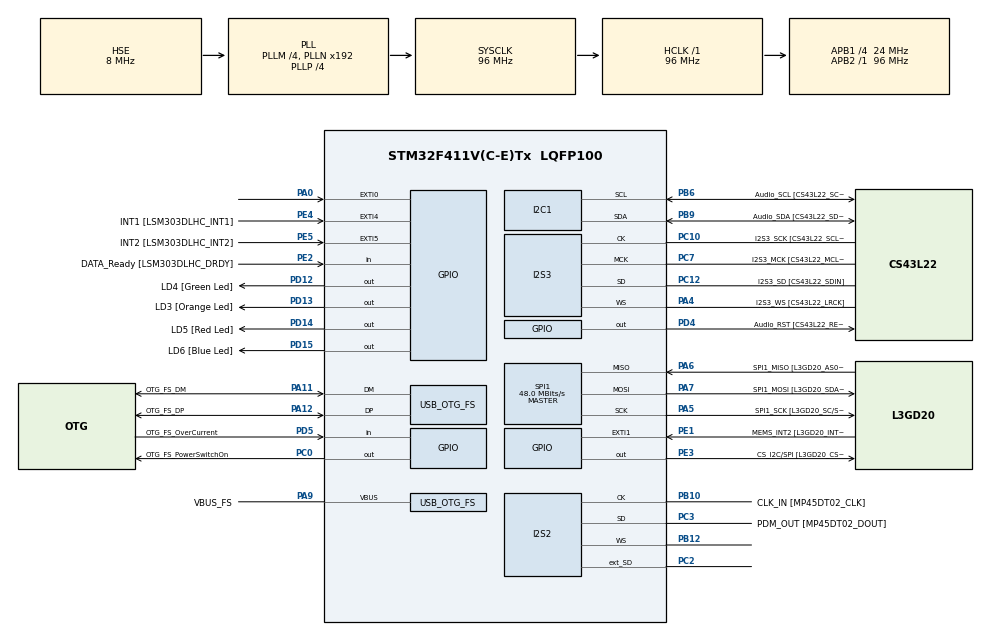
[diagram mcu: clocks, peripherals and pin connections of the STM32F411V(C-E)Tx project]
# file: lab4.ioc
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FREERTOS.BinarySemaphores01=CriticalSemaphore,Dynamic,NULL
FREERTOS.Mutexes01=CriticalResourceMutex,Dynamic,NULL
FREERTOS.Tasks01=GreenTask,0,128,StartGreenTask,Default,NULL,Dynamic,NULL,NULL;RedTask,0,128,StartRedTask,Default,NULL,Dynamic,NULL,NULL;OrangeTask,1,128,StartOrangeTask,Default,NULL,Dynamic,NULL,NULL
I2S2.AudioFreq=I2S_AUDIOFREQ_96K
I2S2.ErrorAudioFreq=0.15 %
I2S2.FullDuplexMode=I2S_FULLDUPLEXMODE_ENABLE
I2S2.Instance=SPI$Index
I2S2.RealAudioFreq=96.153 KHz
I2S2.VirtualMode=I2S_MODE_MASTER
I2S3.AudioFreq=I2S_AUDIOFREQ_96K
I2S3.ErrorAudioFreq=-6.99 %
I2S3.FullDuplexMode=I2S_FULLDUPLEXMODE_DISABLE
I2S3.Instance=SPI$Index
I2S3.RealAudioFreq=89.285 KHz
I2S3.VirtualMode=I2S_MODE_MASTER
Mcu.Family=STM32F4
Mcu.Name=STM32F411V(C-E)Tx
Mcu.Package=LQFP100
NVIC.OTG_FS_IRQn=true\:5\:0\:false\:false\:true\:true\:true\:true
NVIC.PriorityGroup=NVIC_PRIORITYGROUP_4
NVIC.TIM1_UP_TIM10_IRQn=true\:0\:0\:false\:false\:true\:false\:false\:true
NVIC.TimeBase=TIM1_UP_TIM10_IRQn
NVIC.TimeBaseIP=TIM1
PA0-WKUP.GPIO_ModeDefaultEXTI=GPIO_MODE_EVT_RISING
PA0-WKUP.Signal=GPXTI0
PA10.GPIO_Label=OTG_FS_ID
PA10.Signal=USB_OTG_FS_ID
PA11.GPIO_Label=OTG_FS_DM
PA11.Mode=Host_Only
PA11.Signal=USB_OTG_FS_DM
PA12.GPIO_Label=OTG_FS_DP
PA12.Mode=Host_Only
PA12.Signal=USB_OTG_FS_DP
PA13.GPIO_Label=SWDIO
PA13.Mode=Serial_Wire
PA13.Signal=SYS_JTMS-SWDIO
PA14.GPIO_Label=SWCLK
PA14.Mode=Serial_Wire
PA14.Signal=SYS_JTCK-SWCLK
PA4.GPIO_Label=I2S3_WS [CS43L22_LRCK]
PA4.GPIO_Mode=GPIO_MODE_AF_PP
PA4.GPIO_PuPd=GPIO_NOPULL
PA4.GPIO_Speed=GPIO_SPEED_FREQ_LOW
PA4.Mode=Half_Duplex_Master
PA4.Signal=I2S3_WS
PA5.GPIO_Label=SPI1_SCK [L3GD20_SC/SPC]
PA5.Mode=Full_Duplex_Master
PA5.Signal=SPI1_SCK
PA6.GPIO_Label=SPI1_MISO [L3GD20_AS0/SDO]
PA6.Mode=Full_Duplex_Master
PA6.Signal=SPI1_MISO
PA7.GPIO_Label=SPI1_MOSI [L3GD20_SDA/SDI/SDO]
PA7.Mode=Full_Duplex_Master
PA7.Signal=SPI1_MOSI
PA9.GPIO_Label=VBUS_FS
PA9.Mode=Activate_VBUS
PA9.Signal=USB_OTG_FS_VBUS
PB10.GPIO_Label=CLK_IN [MP45DT02_CLK]
PB10.Mode=Full_Duplex_Master
PB10.Signal=I2S2_CK
PB12.Mode=Full_Duplex_Master
PB12.Signal=I2S2_WS
PB3.GPIO_Label=SWO
PB3.Signal=SYS_JTDO-SWO
PB6.GPIO_Label=Audio_SCL [CS43L22_SCL]
PB6.GPIO_Mode=GPIO_MODE_AF_OD
PB6.GPIO_PuPd=GPIO_NOPULL
PB6.GPIO_Speed=GPIO_SPEED_FREQ_LOW
PB6.Mode=I2C
PB6.Signal=I2C1_SCL
PB9.GPIO_Label=Audio_SDA [CS43L22_SDA]
PB9.GPIO_Mode=GPIO_MODE_AF_OD
PB9.GPIO_PuPd=GPIO_NOPULL
PB9.GPIO_Speed=GPIO_SPEED_FREQ_LOW
PB9.Mode=I2C
PB9.Signal=I2C1_SDA
PC0.GPIO_Label=OTG_FS_PowerSwitchOn
PC0.PinState=GPIO_PIN_SET
PC0.Signal=GPIO_Output
PC10.GPIO_Label=I2S3_SCK [CS43L22_SCLK]
PC10.GPIO_Mode=GPIO_MODE_AF_PP
PC10.GPIO_PuPd=GPIO_NOPULL
PC10.GPIO_Speed=GPIO_SPEED_FREQ_LOW
PC10.Mode=Half_Duplex_Master
PC10.Signal=I2S3_CK
PC12.GPIO_Label=I2S3_SD [CS43L22_SDIN]
PC12.GPIO_Mode=GPIO_MODE_AF_PP
PC12.GPIO_PuPd=GPIO_NOPULL
PC12.GPIO_Speed=GPIO_SPEED_FREQ_LOW
PC12.Mode=Half_Duplex_Master
PC12.Signal=I2S3_SD
PC14-OSC32_IN.GPIO_Label=PC14-OSC32_IN
PC14-OSC32_IN.Mode=LSE-External-Oscillator
PC14-OSC32_IN.Signal=RCC_OSC32_IN
PC15-OSC32_OUT.GPIO_Label=PC15-OSC32_OUT
PC15-OSC32_OUT.Mode=LSE-External-Oscillator
PC15-OSC32_OUT.Signal=RCC_OSC32_OUT
PC2.Mode=Full_Duplex_Master
PC2.Signal=I2S2_ext_SD
PC3.GPIO_Label=PDM_OUT [MP45DT02_DOUT]
PC3.Mode=Full_Duplex_Master
PC3.Signal=I2S2_SD
PC7.GPIO_Label=I2S3_MCK [CS43L22_MCLK]
PC7.GPIO_Mode=GPIO_MODE_AF_PP
PC7.GPIO_PuPd=GPIO_NOPULL
PC7.GPIO_Speed=GPIO_SPEED_FREQ_LOW
PC7.Mode=Master_Clock_Activated
PC7.Signal=I2S3_MCK
PD12.GPIO_Label=LD4 [Green Led]
PD12.GPIO_PuPd=GPIO_NOPULL
PD12.GPIO_Speed=GPIO_SPEED_FREQ_LOW
PD12.Signal=GPIO_Output
PD13.GPIO_Label=LD3 [Orange Led]
PD13.GPIO_PuPd=GPIO_NOPULL
PD13.GPIO_Speed=GPIO_SPEED_FREQ_LOW
PD13.Signal=GPIO_Output
PD14.GPIO_Label=LD5 [Red Led]
PD14.GPIO_PuPd=GPIO_NOPULL
PD14.GPIO_Speed=GPIO_SPEED_FREQ_LOW
PD14.Signal=GPIO_Output
PD15.GPIO_Label=LD6 [Blue Led]
PD15.GPIO_PuPd=GPIO_NOPULL
PD15.GPIO_Speed=GPIO_SPEED_FREQ_LOW
PD15.Signal=GPIO_Output
PD4.GPIO_Label=Audio_RST [CS43L22_RESET]
PD4.Signal=GPIO_Output
PD5.GPIO_Label=OTG_FS_OverCurrent
PD5.Signal=GPIO_Input
PE1.GPIO_Label=MEMS_INT2 [L3GD20_INT2]
PE1.GPIO_ModeDefaultEXTI=GPIO_MODE_EVT_RISING
PE1.Signal=GPXTI1
PE2.GPIO_Label=DATA_Ready [LSM303DLHC_DRDY]
PE2.Signal=GPIO_Input
PE3.GPIO_Label=CS_I2C/SPI [L3GD20_CS_I2C/SPI]
PE3.Signal=GPIO_Output
PE4.GPIO_Label=INT1 [LSM303DLHC_INT1]
PE4.GPIO_ModeDefaultEXTI=GPIO_MODE_EVT_RISING
PE4.Signal=GPXTI4
PE5.GPIO_Label=INT2 [LSM303DLHC_INT2]
PE5.GPIO_ModeDefaultEXTI=GPIO_MODE_EVT_RISING
PE5.Signal=GPXTI5
PH0\ -\ OSC_IN.GPIO_Label=PH0-OSC_IN
PH0\ -\ OSC_IN.Mode=HSE-External-Oscillator
PH0\ -\ OSC_IN.Signal=RCC_OSC_IN
PH1\ -\ OSC_OUT.GPIO_Label=PH1-OSC_OUT
PH1\ -\ OSC_OUT.Mode=HSE-External-Oscillator
PH1\ -\ OSC_OUT.Signal=RCC_OSC_OUT
ProjectManager.HeapSize=0x200
ProjectManager.StackSize=0x400
ProjectManager.TargetToolchain=STM32CubeIDE
RCC.48MHZClocksFreq_Value=48000000
RCC.AHBFreq_Value=96000000
RCC.APB1CLKDivider=RCC_HCLK_DIV4
RCC.APB1Freq_Value=24000000
RCC.APB1TimFreq_Value=48000000
RCC.APB2Freq_Value=96000000
RCC.APB2TimFreq_Value=96000000
RCC.CortexFreq_Value=96000000
RCC.HCLKFreq_Value=96000000
RCC.HSE_VALUE=8000000
RCC.HSI_VALUE=16000000
RCC.PLLI2SM=5
RCC.PLLI2SN=200
RCC.PLLM=4
RCC.PLLP=RCC_PLLP_DIV4
RCC.PLLQ=8
RCC.SYSCLKFreq_VALUE=96000000
RCC.SYSCLKSource=RCC_SYSCLKSOURCE_PLLCLK
RCC.VCOOutputFreq_Value=384000000
SPI1.BaudRatePrescaler=SPI_BAUDRATEPRESCALER_2
SPI1.CalculateBaudRate=48.0 MBits/s
SPI1.Direction=SPI_DIRECTION_2LINES
SPI1.Mode=SPI_MODE_MASTER
SPI1.VirtualType=VM_MASTER
USB_HOST.BSP.number=1
USB_HOST.USBH_HandleTypeDef=hUsbHostFS
USB_HOST.USBH_USE_OS-CDC_FS=0
USB_HOST.VirtualModeFS=Cdc
USB_HOST0.BSP.STBoard=false
USB_HOST0.BSP.api=Unknown
USB_HOST0.BSP.i2caddr=0
USB_HOST0.BSP.i2creg=0
USB_HOST0.BSP.instance=PC0
USB_HOST0.BSP.ip=GPIO
USB_HOST0.BSP.mode=Output
USB_HOST0.BSP.name=Drive_VBUS_FS
USB_HOST0.BSP.solution=PC0
USB_OTG_FS.VirtualMode=Host_Only
USB_OTG_FS.phy_itface=HCD_PHY_EMBEDDED
VP_FREERTOS_VS_CMSIS_V1.Mode=CMSIS_V1
VP_SYS_VS_tim1.Mode=TIM1
VP_USB_HOST_VS_USB_HOST_CDC_FS.Mode=CDC_FS
board=STM32F411E-DISCO

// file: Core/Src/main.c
/* USER CODE BEGIN Header */
/**
  ******************************************************************************
  * @file           : main.c
  * @brief          : Main program body
  ******************************************************************************
  * @attention
  *
  * <h2><center>&copy; Copyright (c) 2024 STMicroelectronics.
  * All rights reserved.</center></h2>
  *
  * This software component is licensed by ST under Ultimate Liberty license
  * SLA0044, the "License"; You may not use this file except in compliance with
  * the License. You may obtain a copy of the License at:
  *                             www.st.com/SLA0044
  *
  ******************************************************************************
  */
/* USER CODE END Header */

#include "main.h"
#include "cmsis_os.h"
#include "usb_host.h"

I2C_HandleTypeDef hi2c1;

I2S_HandleTypeDef hi2s2;
I2S_HandleTypeDef hi2s3;

SPI_HandleTypeDef hspi1;

osThreadId GreenTaskHandle;
osThreadId RedTaskHandle;
osThreadId OrangeTaskHandle;
osMutexId CriticalResourceMutexHandle;
osSemaphoreId CriticalSemaphoreHandle;

void SystemClock_Config(void);
static void MX_GPIO_Init(void);
static void MX_I2C1_Init(void);
static void MX_I2S2_Init(void);
static void MX_I2S3_Init(void);
static void MX_SPI1_Init(void);
void StartGreenTask(void const * argument);
void StartRedTask(void const * argument);
void StartOrangeTask(void const * argument);

int main(void)
{

  /* MCU Configuration--------------------------------------------------------*/

  /* Reset of all peripherals, Initializes the Flash interface and the Systick. */
  HAL_Init();

  /* Configure the system clock */
  SystemClock_Config();

  /* Initialize all configured peripherals */
  MX_GPIO_Init();
  MX_I2C1_Init();
  MX_I2S2_Init();
  MX_I2S3_Init();
  MX_SPI1_Init();

  /* Create the mutex(es) */
  /* definition and creation of CriticalResourceMutex */
  osMutexDef(CriticalResourceMutex);
  CriticalResourceMutexHandle = osMutexCreate(osMutex(CriticalResourceMutex));

  /* Create the semaphores(s) */
  /* definition and creation of CriticalSemaphore */
  osSemaphoreDef(CriticalSemaphore);
  CriticalSemaphoreHandle = osSemaphoreCreate(osSemaphore(CriticalSemaphore), 1);

  /* Create the thread(s) */
  /* definition and creation of GreenTask */
  osThreadDef(GreenTask, StartGreenTask, osPriorityNormal, 0, 128);
  GreenTaskHandle = osThreadCreate(osThread(GreenTask), NULL);

  /* definition and creation of RedTask */
  osThreadDef(RedTask, StartRedTask, osPriorityNormal, 0, 128);
  RedTaskHandle = osThreadCreate(osThread(RedTask), NULL);

  /* definition and creation of OrangeTask */
  osThreadDef(OrangeTask, StartOrangeTask, osPriorityAboveNormal, 0, 128);
  OrangeTaskHandle = osThreadCreate(osThread(OrangeTask), NULL);

  /* Start scheduler */
  osKernelStart();

  /* We should never get here as control is now taken by the scheduler */

  /* Infinite loop */
  while (1)
  {

  }
}

void SystemClock_Config(void)
{
  RCC_OscInitTypeDef RCC_OscInitStruct = {0};
  RCC_ClkInitTypeDef RCC_ClkInitStruct = {0};
  RCC_PeriphCLKInitTypeDef PeriphClkInitStruct = {0};

  /** Configure the main internal regulator output voltage
  */
  __HAL_RCC_PWR_CLK_ENABLE();
  __HAL_PWR_VOLTAGESCALING_CONFIG(PWR_REGULATOR_VOLTAGE_SCALE1);
  /** Initializes the CPU, AHB and APB busses clocks
  */
  RCC_OscInitStruct.OscillatorType = RCC_OSCILLATORTYPE_HSE;
  RCC_OscInitStruct.HSEState = RCC_HSE_ON;
  RCC_OscInitStruct.PLL.PLLState = RCC_PLL_ON;
  RCC_OscInitStruct.PLL.PLLSource = RCC_PLLSOURCE_HSE;
  RCC_OscInitStruct.PLL.PLLM = 4;
  RCC_OscInitStruct.PLL.PLLN = 192;
  RCC_OscInitStruct.PLL.PLLP = RCC_PLLP_DIV4;
  RCC_OscInitStruct.PLL.PLLQ = 8;
  if (HAL_RCC_OscConfig(&RCC_OscInitStruct) != HAL_OK)
  {
    Error_Handler();
  }
  /** Initializes the CPU, AHB and APB busses clocks
  */
  RCC_ClkInitStruct.ClockType = RCC_CLOCKTYPE_HCLK|RCC_CLOCKTYPE_SYSCLK
                              |RCC_CLOCKTYPE_PCLK1|RCC_CLOCKTYPE_PCLK2;
  RCC_ClkInitStruct.SYSCLKSource = RCC_SYSCLKSOURCE_PLLCLK;
  RCC_ClkInitStruct.AHBCLKDivider = RCC_SYSCLK_DIV1;
  RCC_ClkInitStruct.APB1CLKDivider = RCC_HCLK_DIV4;
  RCC_ClkInitStruct.APB2CLKDivider = RCC_HCLK_DIV1;

  if (HAL_RCC_ClockConfig(&RCC_ClkInitStruct, FLASH_LATENCY_3) != HAL_OK)
  {
    Error_Handler();
  }
  PeriphClkInitStruct.PeriphClockSelection = RCC_PERIPHCLK_I2S;
  PeriphClkInitStruct.PLLI2S.PLLI2SN = 200;
  PeriphClkInitStruct.PLLI2S.PLLI2SM = 5;
  PeriphClkInitStruct.PLLI2S.PLLI2SR = 2;
  if (HAL_RCCEx_PeriphCLKConfig(&PeriphClkInitStruct) != HAL_OK)
  {
    Error_Handler();
  }
}

static void MX_I2C1_Init(void)
{

  hi2c1.Instance = I2C1;
  hi2c1.Init.ClockSpeed = 100000;
  hi2c1.Init.DutyCycle = I2C_DUTYCYCLE_2;
  hi2c1.Init.OwnAddress1 = 0;
  hi2c1.Init.AddressingMode = I2C_ADDRESSINGMODE_7BIT;
  hi2c1.Init.DualAddressMode = I2C_DUALADDRESS_DISABLE;
  hi2c1.Init.OwnAddress2 = 0;
  hi2c1.Init.GeneralCallMode = I2C_GENERALCALL_DISABLE;
  hi2c1.Init.NoStretchMode = I2C_NOSTRETCH_DISABLE;
  if (HAL_I2C_Init(&hi2c1) != HAL_OK)
  {
    Error_Handler();
  }

}

static void MX_I2S2_Init(void)
{

  hi2s2.Instance = SPI2;
  hi2s2.Init.Mode = I2S_MODE_MASTER_TX;
  hi2s2.Init.Standard = I2S_STANDARD_PHILIPS;
  hi2s2.Init.DataFormat = I2S_DATAFORMAT_16B;
  hi2s2.Init.MCLKOutput = I2S_MCLKOUTPUT_DISABLE;
  hi2s2.Init.AudioFreq = I2S_AUDIOFREQ_96K;
  hi2s2.Init.CPOL = I2S_CPOL_LOW;
  hi2s2.Init.ClockSource = I2S_CLOCK_PLL;
  hi2s2.Init.FullDuplexMode = I2S_FULLDUPLEXMODE_ENABLE;
  if (HAL_I2S_Init(&hi2s2) != HAL_OK)
  {
    Error_Handler();
  }

}

static void MX_I2S3_Init(void)
{

  hi2s3.Instance = SPI3;
  hi2s3.Init.Mode = I2S_MODE_MASTER_TX;
  hi2s3.Init.Standard = I2S_STANDARD_PHILIPS;
  hi2s3.Init.DataFormat = I2S_DATAFORMAT_16B;
  hi2s3.Init.MCLKOutput = I2S_MCLKOUTPUT_ENABLE;
  hi2s3.Init.AudioFreq = I2S_AUDIOFREQ_96K;
  hi2s3.Init.CPOL = I2S_CPOL_LOW;
  hi2s3.Init.ClockSource = I2S_CLOCK_PLL;
  hi2s3.Init.FullDuplexMode = I2S_FULLDUPLEXMODE_DISABLE;
  if (HAL_I2S_Init(&hi2s3) != HAL_OK)
  {
    Error_Handler();
  }

}

static void MX_SPI1_Init(void)
{

  /* SPI1 parameter configuration*/
  hspi1.Instance = SPI1;
  hspi1.Init.Mode = SPI_MODE_MASTER;
  hspi1.Init.Direction = SPI_DIRECTION_2LINES;
  hspi1.Init.DataSize = SPI_DATASIZE_8BIT;
  hspi1.Init.CLKPolarity = SPI_POLARITY_LOW;
  hspi1.Init.CLKPhase = SPI_PHASE_1EDGE;
  hspi1.Init.NSS = SPI_NSS_SOFT;
  hspi1.Init.BaudRatePrescaler = SPI_BAUDRATEPRESCALER_2;
  hspi1.Init.FirstBit = SPI_FIRSTBIT_MSB;
  hspi1.Init.TIMode = SPI_TIMODE_DISABLE;
  hspi1.Init.CRCCalculation = SPI_CRCCALCULATION_DISABLE;
  hspi1.Init.CRCPolynomial = 10;
  if (HAL_SPI_Init(&hspi1) != HAL_OK)
  {
    Error_Handler();
  }

}

static void MX_GPIO_Init(void)
{
  GPIO_InitTypeDef GPIO_InitStruct = {0};

  /* GPIO Ports Clock Enable */
  __HAL_RCC_GPIOE_CLK_ENABLE();
  __HAL_RCC_GPIOC_CLK_ENABLE();
  __HAL_RCC_GPIOH_CLK_ENABLE();
  __HAL_RCC_GPIOA_CLK_ENABLE();
  __HAL_RCC_GPIOB_CLK_ENABLE();
  __HAL_RCC_GPIOD_CLK_ENABLE();

  /*Configure GPIO pin Output Level */
  HAL_GPIO_WritePin(CS_I2C_SPI_GPIO_Port, CS_I2C_SPI_Pin, GPIO_PIN_RESET);

  /*Configure GPIO pin Output Level */
  HAL_GPIO_WritePin(OTG_FS_PowerSwitchOn_GPIO_Port, OTG_FS_PowerSwitchOn_Pin, GPIO_PIN_SET);

  /*Configure GPIO pin Output Level */
  HAL_GPIO_WritePin(GPIOD, LD4_Pin|LD3_Pin|LD5_Pin|LD6_Pin
                          |Audio_RST_Pin, GPIO_PIN_RESET);

  /*Configure GPIO pin : DATA_Ready_Pin */
  GPIO_InitStruct.Pin = DATA_Ready_Pin;
  GPIO_InitStruct.Mode = GPIO_MODE_INPUT;
  GPIO_InitStruct.Pull = GPIO_NOPULL;
  HAL_GPIO_Init(DATA_Ready_GPIO_Port, &GPIO_InitStruct);

  /*Configure GPIO pin : CS_I2C_SPI_Pin */
  GPIO_InitStruct.Pin = CS_I2C_SPI_Pin;
  GPIO_InitStruct.Mode = GPIO_MODE_OUTPUT_PP;
  GPIO_InitStruct.Pull = GPIO_NOPULL;
  GPIO_InitStruct.Speed = GPIO_SPEED_FREQ_LOW;
  HAL_GPIO_Init(CS_I2C_SPI_GPIO_Port, &GPIO_InitStruct);

  /*Configure GPIO pins : INT1_Pin INT2_Pin MEMS_INT2_Pin */
  GPIO_InitStruct.Pin = INT1_Pin|INT2_Pin|MEMS_INT2_Pin;
  GPIO_InitStruct.Mode = GPIO_MODE_EVT_RISING;
  GPIO_InitStruct.Pull = GPIO_NOPULL;
  HAL_GPIO_Init(GPIOE, &GPIO_InitStruct);

  /*Configure GPIO pin : OTG_FS_PowerSwitchOn_Pin */
  GPIO_InitStruct.Pin = OTG_FS_PowerSwitchOn_Pin;
  GPIO_InitStruct.Mode = GPIO_MODE_OUTPUT_PP;
  GPIO_InitStruct.Pull = GPIO_NOPULL;
  GPIO_InitStruct.Speed = GPIO_SPEED_FREQ_LOW;
  HAL_GPIO_Init(OTG_FS_PowerSwitchOn_GPIO_Port, &GPIO_InitStruct);

  /*Configure GPIO pin : PA0 */
  GPIO_InitStruct.Pin = GPIO_PIN_0;
  GPIO_InitStruct.Mode = GPIO_MODE_EVT_RISING;
  GPIO_InitStruct.Pull = GPIO_NOPULL;
  HAL_GPIO_Init(GPIOA, &GPIO_InitStruct);

  /*Configure GPIO pins : LD4_Pin LD3_Pin LD5_Pin LD6_Pin
                           Audio_RST_Pin */
  GPIO_InitStruct.Pin = LD4_Pin|LD3_Pin|LD5_Pin|LD6_Pin
                          |Audio_RST_Pin;
  GPIO_InitStruct.Mode = GPIO_MODE_OUTPUT_PP;
  GPIO_InitStruct.Pull = GPIO_NOPULL;
  GPIO_InitStruct.Speed = GPIO_SPEED_FREQ_LOW;
  HAL_GPIO_Init(GPIOD, &GPIO_InitStruct);

  /*Configure GPIO pin : OTG_FS_OverCurrent_Pin */
  GPIO_InitStruct.Pin = OTG_FS_OverCurrent_Pin;
  GPIO_InitStruct.Mode = GPIO_MODE_INPUT;
  GPIO_InitStruct.Pull = GPIO_NOPULL;
  HAL_GPIO_Init(OTG_FS_OverCurrent_GPIO_Port, &GPIO_InitStruct);

}

/* USER CODE BEGIN 4 */
int startFlag = 1;
void StartAccessSoftware()
{
  /* USER CODE BEGIN 5 */
  /* Infinite loop */
	osSemaphoreWait(CriticalSemaphoreHandle, osWaitForever);//wait until semaphore available
	if(startFlag == 1)
	{
		startFlag = 0;
	}
	else
	{
		HAL_GPIO_TogglePin(GPIOD, LD6_Pin);//Toggel Blue LED
	}
    for(int i = 0; i < 2000000; i++);//Delay ~0.5 sec
    startFlag = 1;
    osSemaphoreRelease(CriticalSemaphoreHandle);//once done release it so other tasks can use it
    return;

  /* USER CODE END 5 */
}
/* USER CODE END 4 */

void StartGreenTask(void const * argument)
{

	  for(;;)
	  {
		  HAL_GPIO_WritePin(GPIOD, LD4_Pin, GPIO_PIN_SET);//Green LED ON

		  StartAccessSoftware();//Enter simulation of R/W

		  osDelay(200);//delay 0.2 sec
		  HAL_GPIO_WritePin(GPIOD, LD4_Pin, GPIO_PIN_RESET);//Green LED OFF

		  osDelay(200);//delay 0.2 sec
	  }
  /* USER CODE END 5 */
}

void StartRedTask(void const * argument)
{
  /* USER CODE BEGIN StartRedTask */
  /* Infinite loop */
  for(;;)
  {
	  HAL_GPIO_WritePin(GPIOD, LD5_Pin, GPIO_PIN_SET);//RED LED ON

	  //osMutexWait(CriticalResourceMutexHandle, osWaitForever);//wait until mutex available
	  StartAccessSoftware();//Enter simulation of R/W
	  //osMutexRelease(CriticalResourceMutexHandle);//once done release it so other tasks can use it

	  osDelay(550);
	  HAL_GPIO_WritePin(GPIOD, LD5_Pin, GPIO_PIN_RESET);//RED LED OFF

	  osDelay(550);//delay 0.55 sec
  }
  /* USER CODE END StartRedTask */
}

void StartOrangeTask(void const * argument)
{
  /* USER CODE BEGIN StartOrangeTask */
  /* Infinite loop */
  for(;;)
  {
	  HAL_GPIO_TogglePin(GPIOD, LD3_Pin);//Orange LED ON
	  osDelay(50);//delay 0.5 sec
  }
  /* USER CODE END StartOrangeTask */
}

void HAL_TIM_PeriodElapsedCallback(TIM_HandleTypeDef *htim)
{
  if (htim->Instance == TIM1) {
    HAL_IncTick();
  }
}

void Error_Handler(void)
{
}

/************************ (C) COPYRIGHT STMicroelectronics *****END OF FILE****/
